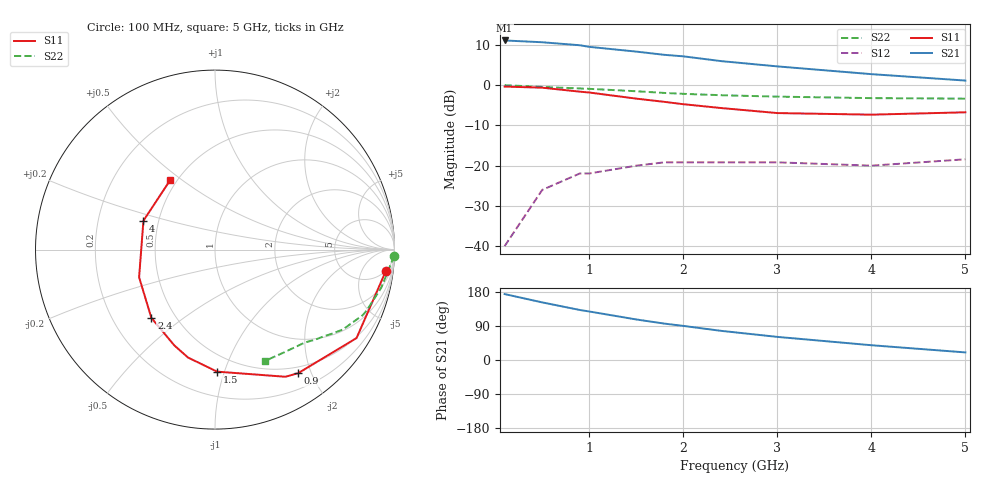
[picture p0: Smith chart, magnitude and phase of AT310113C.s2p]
!AT-31011
!S and NOISE PARAMETERS at Vce=2.7V Ic=1mA. LAST UPDATED 06-23-94
# ghz s ma r 50
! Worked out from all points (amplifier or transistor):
!   11 points, 100 MHz to 5 GHz, reference 50 ohm
!   highest |S21| = 11.1 dB at 100 MHz (marker M1)
!   |S21| within 3 dB of that: start of sweep to 1.586 GHz
!   unconditionally stable (mu >= 1): 3.022 GHz to end of sweep
!   at 500 MHz: K = 0.19, MSG = 18.3 dB, |S12| = -26.0 dB
!   at 1.8 GHz: K = 0.55, MSG = 13.4 dB, |S12| = -19.2 dB
!   at 5 GHz: K = 1.31, MAG = 6.5 dB, |S12| = -18.4 dB
!   lowest NFmin = 0.50 dB at 500 MHz
!   S11 on the Smith chart (normalised r, x): 100 MHz: 5, -15; 900 MHz: 0.41, -1.81; 1.5 GHz: 0.37, -0.95; 2.4 GHz: 0.37, -0.38; 4 GHz: 0.41, +0.16; 5 GHz: 0.46, +0.45
0.1  0.96 -7.0  3.59 174.0  0.01 86.0  0.999 -2.0
0.5  0.93 -32.0  3.41 152.0  0.05 69.0  0.95 -13.0
0.9  0.83 -56.0  3.13 132.0  0.08 55.0  0.91 -22.0
1  0.81 -61.0  2.99 128.0  0.08 53.0  0.9 -24.0
1.5  0.68 -89.0  2.61 107.0  0.1 40.0  0.84 -32.0
1.8  0.62 -104.0  2.38 96.0  0.11 34.0  0.8 -36.0
2  0.58 -113.0  2.28 90.0  0.11 31.0  0.78 -38.0
2.4  0.52 -133.0  1.99 77.0  0.11 27.0  0.75 -42.0
3  0.45 -160.0  1.71 61.0  0.11 25.0  0.72 -46.0
4  0.43 158.0  1.37 39.0  0.1 29.0  0.69 -56.0
5  0.46 123.0  1.14 20.0  0.12 41.0  0.68 -66.0
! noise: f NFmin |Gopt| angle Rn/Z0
0.5  0.5  0.92  13  0.85
0.9  0.6  0.85  29  0.73
1.8  1.1  0.68  67  0.46
2.4  1.6  0.55  98  0.28
